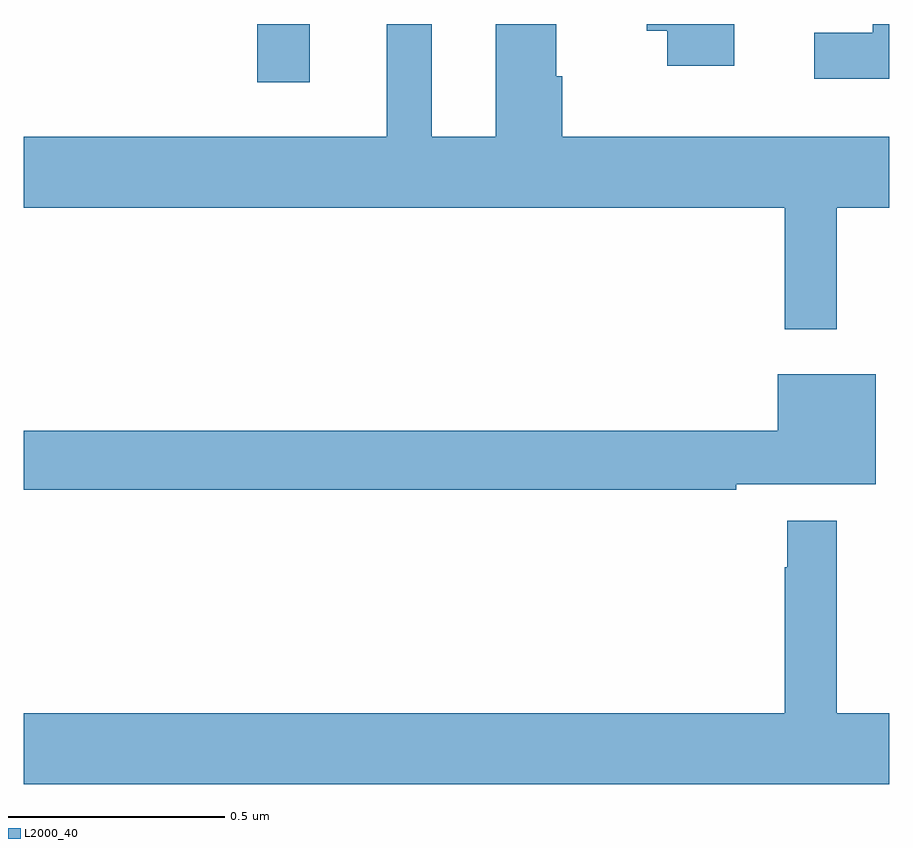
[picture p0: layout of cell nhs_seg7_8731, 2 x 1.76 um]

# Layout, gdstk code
import gdstk
lib = gdstk.Library(unit=1e-6, precision=1e-09)
def R(c, l, rs):  # rectangles x0, y0, x1, y1
    for r in rs: c.add(gdstk.rectangle(r[:2], r[2:], *l))
def P(c, l, *ps):  # polygons
    for p in ps: c.add(gdstk.Polygon(p, *l))
L2000_40 = (2000, 40)

nhs_seg7_8731 = lib.new_cell('nhs_seg7_8731')
R(nhs_seg7_8731, L2000_40, [(228.54,1040.865,228.661,1041)])
P(nhs_seg7_8731, L2000_40, [(229.879,1040.576),(230,1040.576),(230,1040.74),(229.244,1040.74),(229.244,1040.879),(229.231,1040.879),(229.231,1041),(229.091,1041),(229.091,1040.74),(228.943,1040.74),(228.943,1041),(228.839,1041),(228.839,1040.74),(228,1040.74),(228,1040.576),(229.758,1040.576),(229.758,1040.295),(229.879,1040.295)],
  [(230,1041),(229.962,1041),(229.962,1040.98),(229.827,1040.98),(229.827,1040.873),(230,1040.873)],
  [(229.642,1041),(229.439,1041),(229.439,1040.984),(229.487,1040.984),(229.487,1040.904),(229.642,1040.904)],
  [(229.646,1039.937),(229.969,1039.937),(229.969,1040.191),(229.742,1040.191),(229.742,1040.06),(228,1040.06),(228,1039.924),(229.646,1039.924)],
  [(230,1039.408),(229.879,1039.408),(229.879,1039.852),(229.764,1039.852),(229.764,1039.745),(229.758,1039.745),(229.758,1039.408),(228,1039.408),(228,1039.244),(230,1039.244)])

lib.write_gds('nhs_seg7_8731.gds')
